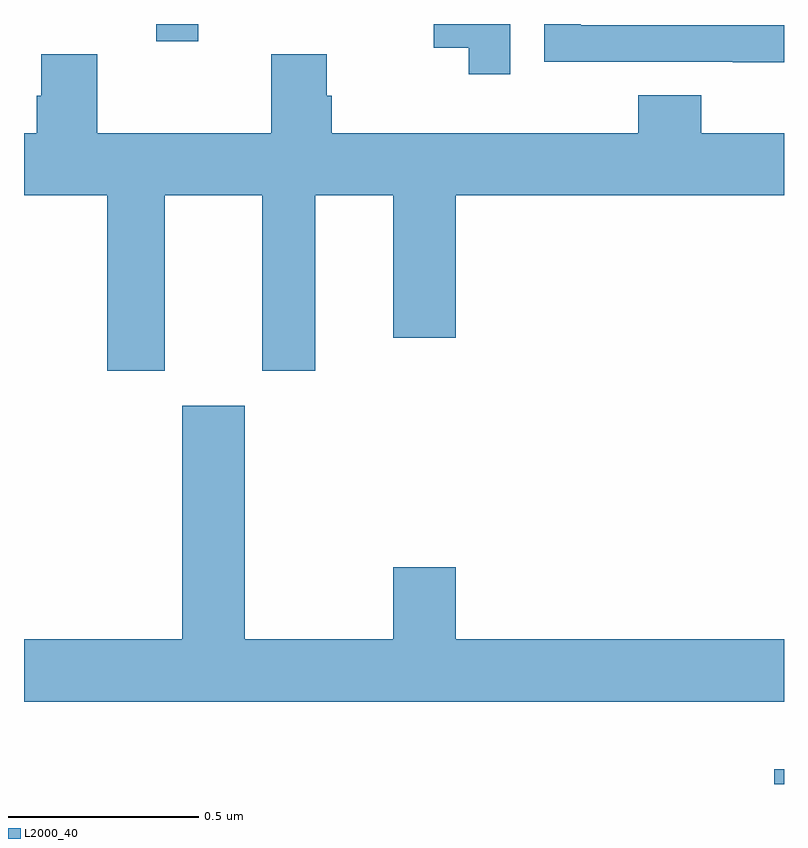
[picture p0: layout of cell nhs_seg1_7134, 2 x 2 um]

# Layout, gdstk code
import gdstk
lib = gdstk.Library(unit=1e-6, precision=1e-09)
def R(c, l, rs):  # rectangles x0, y0, x1, y1
    for r in rs: c.add(gdstk.rectangle(r[:2], r[2:], *l))
def P(c, l, *ps):  # polygons
    for p in ps: c.add(gdstk.Polygon(p, *l))
L2000_40 = (2000, 40)

nhs_seg1_7134 = lib.new_cell('nhs_seg1_7134')
R(nhs_seg1_7134, L2000_40, [(201.974,534.199,202,534.238), (200.348,536.154,200.459,536.199)])
P(nhs_seg1_7134, L2000_40, [(201.279,536.199),(201.078,536.199),(201.078,536.137),(201.171,536.137),(201.171,536.067),(201.279,536.067)],
  [(202,536.196),(201.465,536.196),(201.465,536.199),(201.369,536.199),(201.369,536.1),(201.865,536.1),(201.865,536.099),(202,536.099)],
  [(200.371,535.748),(200.627,535.748),(200.627,535.287),(200.767,535.287),(200.767,535.748),(200.972,535.748),(200.972,535.374),(201.136,535.374),(201.136,535.748),(202,535.748),(202,535.912),(201.782,535.912),(201.782,536.011),(201.617,536.011),(201.617,535.912),(200.81,535.912),(200.81,536.01),(200.797,536.01),(200.797,536.12),(200.65,536.12),(200.65,535.912),(200.193,535.912),(200.193,536.12),(200.045,536.12),(200.045,536.01),(200.033,536.01),(200.033,535.912),(200,535.912),(200,535.748),(200.219,535.748),(200.219,535.287),(200.371,535.287)],
  [(202,534.58),(201.136,534.58),(201.136,534.769),(200.972,534.769),(200.972,534.58),(200.581,534.58),(200.581,535.195),(200.417,535.195),(200.417,534.58),(200,534.58),(200,534.416),(202,534.416)])

lib.write_gds('nhs_seg1_7134.gds')
